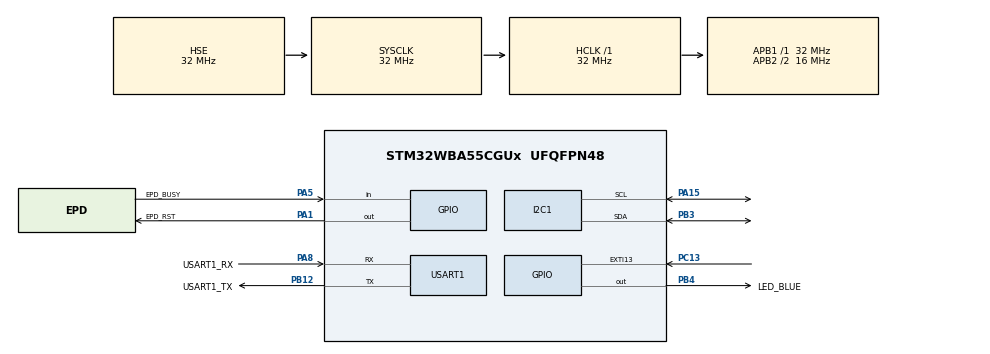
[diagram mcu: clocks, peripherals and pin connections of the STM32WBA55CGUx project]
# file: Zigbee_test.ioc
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CORTEX_M33_NS.userName=CORTEX_M33
I2C1.Timing=0x00303D5B
Mcu.Family=STM32WBA
Mcu.Name=STM32WBA55CGUx
Mcu.Package=UFQFPN48
NVIC.EXTI13_IRQn=true\:0\:0\:false\:false\:true\:true\:true\:true
NVIC.PriorityGroup=NVIC_PRIORITYGROUP_4
NVIC.RADIO_IRQn=true\:0\:0\:false\:false\:true\:false\:false\:true
NVIC.RCC_IRQn=true\:1\:0\:false\:false\:true\:false\:false\:true
NVIC.RTC_IRQn=true\:4\:0\:false\:false\:true\:false\:true\:true
OSC_IN.GPIO_Label=RCC_OSC_IN
OSC_IN.Mode=HSE-External-Oscillator
OSC_IN.Signal=RCC_OSC_IN
OSC_OUT.GPIO_Label=RCC_OSC_OUT
OSC_OUT.Mode=HSE-External-Oscillator
OSC_OUT.Signal=RCC_OSC_OUT
PA1.GPIO_Label=EPD_RST
PA1.Signal=GPIO_Output
PA13\ (JTMS/SWDIO).GPIO_Label=DEBUG_JTMS-SWDIO
PA13\ (JTMS/SWDIO).Signal=DEBUG_JTMS-SWDIO
PA14\ (JTCK/SWCLK).GPIO_Label=DEBUG_JTCK-SWCLK
PA14\ (JTCK/SWCLK).Signal=DEBUG_JTCK-SWCLK
PA15\ (JTDI).GPIO_Pu=GPIO_PULLUP
PA15\ (JTDI).Mode=I2C
PA15\ (JTDI).Signal=I2C1_SCL
PA5.GPIO_Label=EPD_BUSY
PA5.GPIO_PuPd=GPIO_PULLUP
PA5.Signal=GPIO_Input
PA8.GPIO_Label=USART1_RX
PA8.Mode=Asynchronous
PA8.Signal=USART1_RX
PB12.GPIO_Label=USART1_TX
PB12.Mode=Asynchronous
PB12.Signal=USART1_TX
PB3\ (JTDO/TRACESWO).GPIO_Pu=GPIO_PULLUP
PB3\ (JTDO/TRACESWO).Mode=I2C
PB3\ (JTDO/TRACESWO).Signal=I2C1_SDA
PB4\ (NJTRST).GPIO_Label=LED_BLUE
PB4\ (NJTRST).Signal=GPIO_Output
PC13.GPIO_PuPd=GPIO_PULLUP
PC13.Signal=GPXTI13
PC14-OSC32_IN.GPIO_Label=RCC_OSC32_IN
PC14-OSC32_IN.Mode=LSE-External-Oscillator
PC14-OSC32_IN.Signal=RCC_OSC32_IN
PC15-OSC32_OUT.GPIO_Label=RCC_OSC32_OUT
PC15-OSC32_OUT.Mode=LSE-External-Oscillator
PC15-OSC32_OUT.Signal=RCC_OSC32_OUT
ProjectManager.HeapSize=0x200
ProjectManager.StackSize=0x400
ProjectManager.TargetToolchain=STM32CubeIDE
RAMCFG.Instance-RAMCFG1_Activate=RAMCFG_SRAM1
RCC.ADCFreq_Value=32000000
RCC.AHBFreq_Value=32000000
RCC.APB1Freq_Value=32000000
RCC.APB1TimFreq_Value=32000000
RCC.APB2CLKDivider=RCC_HCLK_DIV2
RCC.APB2Freq_Value=16000000
RCC.APB2TimFreq_Value=32000000
RCC.CortexCLockSelectionVirtual=RCC_SYSTICKCLKSOURCE_LSE
RCC.CortexFreq_Value=32768
RCC.HCLKFreq_Value=32000000
RCC.HSE_VALUE=32000000
RCC.HSI_VALUE=16000000
RCC.I2C1CLockSelection=RCC_I2C1CLKSOURCE_HSI
RCC.I2C3CLockSelection=RCC_I2C3CLKSOURCE_HSI
RCC.LPUART1CLockSelectionVirtual=RCC_LPUART1CLKSOURCE_HSI
RCC.LSI1_VALUE=32000
RCC.LSI2_VALUE=32000
RCC.PLLFRACN=4096
RCC.PLLN=12
RCC.PLLSourceVirtual=RCC_PLLSOURCE_HSE
RCC.PWR_Regulator_Voltage_Scale=PWR_REGULATOR_VOLTAGE_SCALE1
RCC.RSTClockSelectionVirtual=RCC_RADIOSTCLKSOURCE_LSE
RCC.RTCClockSelection=RCC_RTCCLKSOURCE_LSE
RCC.SPI1CLockSelection=RCC_SPI1CLKSOURCE_HSI
RCC.SPI3CLockSelection=RCC_SPI3CLKSOURCE_HSI
RCC.SYSCLKFreq_VALUE=32000000
RCC.SYSCLKSourceVirtual=RCC_SYSCLKSOURCE_HSE
RCC.USART1CLockSelectionVirtual=RCC_USART1CLKSOURCE_HSI
RCC.USART2CLockSelectionVirtual=RCC_USART2CLKSOURCE_HSI
RCC.VCOOutputFreq_Value=400000000
RTC.Alarm-Alarm\ A=RTC_ALARM_A
STM32_WPAN.BSP.number=1
STM32_WPAN.CFG_LPM_LEVEL=0
STM32_WPAN.CFG_MM_POOL_SIZE=40000
STM32_WPAN.CFG_MM_TYPE=0
STM32_WPAN.CFG_SCM_SUPPORTED=0
STM32_WPAN.ZCL_IAS_ZONE_ENDPOINT1=CLIENT
STM32_WPAN.ZCL_ONOFF_ENDPOINT1=SERVER
STM32_WPAN.ZCL_TEMPERATURE_MEASUREMENT_ENDPOINT1=CLIENT
STM32_WPAN.ZGB_NB_ENDPOINTS=1
STM32_WPAN0.BSP.STBoard=false
STM32_WPAN0.BSP.api=Unknown
STM32_WPAN0.BSP.condition=S_LOG_TRANSPORT_UART & \!(S_BLE_TM | S_BLE_HOST_SIMPLE)
STM32_WPAN0.BSP.instance=USART1
STM32_WPAN0.BSP.ip=(LPU|US)ART
STM32_WPAN0.BSP.mode=Single Wire \\(Half-Duplex\\)|Asynchronous
STM32_WPAN0.BSP.name=Serial Link for Logs
STM32_WPAN0.BSP.solution=USART1
USART1.VirtualMode-Asynchronous=VM_ASYNC
VP_ADV_TRACE_VS_ADV_TRACE.Mode=ADV_TRACE_Enabled
VP_COMMON_WPAN_VS_Utility_Common_1.0.0_1.0.0.Mode=Utility_Common
VP_CORTEX_M33_NS_VS_Ext.Mode=External_Mode
VP_ICACHE_VS_ICACHE.Mode=DirectMappedCache
VP_MEMORYMAP_VS_MEMORYMAP.Mode=CurAppReg
VP_MISC_VS_MISC.Mode=MISC_Enabled
VP_PWR_VS_SECSignals.Mode=Security/Privilege
VP_RAMCFG_VS_RAMCFG1.Mode=RAMCFG1_Activate
VP_RF_VS_RF.Mode=RF_Activate
VP_RNG_VS_RNG.Mode=RNG_Activate
VP_RTC_VS_RTC_Activate.Mode=RTC_Enabled
VP_RTC_VS_RTC_Alarm_A_Intern.Mode=Alarm A
VP_RTC_VS_RTC_Calendar.Mode=RTC_Calendar
VP_SEQUENCER_VS_SEQUENCER.Mode=SEQUENCER_Enabled
VP_STM32_WPAN_VS_ZIGBEE.Mode=ZIGBEE_ENDPOINT
VP_TIMER_VS_TIMER.Mode=TIMER_Enabled
VP_TINY_LPM_VS_TINY_LPM.Mode=TINY_LPM_Enabled
board=NUCLEO-WBA55CG

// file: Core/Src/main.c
/* USER CODE BEGIN Header */
/**
  ******************************************************************************
  * @file           : main.c
  * @brief          : Main program body
  ******************************************************************************
  * @attention
  *
  * Copyright (c) 2026 STMicroelectronics.
  * All rights reserved.
  *
  * This software is licensed under terms that can be found in the LICENSE file
  * in the root directory of this software component.
  * If no LICENSE file comes with this software, it is provided AS-IS.
  *
  ******************************************************************************
  */
/* USER CODE END Header */
#include "main.h"

/* USER CODE BEGIN Includes */
#include <stdio.h>
#include "EPD_1in9.h"
#include "DEV_Config.h"
#include "epd_custom.h"

/* USER CODE END Includes */

I2C_HandleTypeDef hi2c1;

RAMCFG_HandleTypeDef hramcfg_SRAM1;

RNG_HandleTypeDef hrng;

RTC_HandleTypeDef hrtc;

UART_HandleTypeDef huart1;

/* USER CODE BEGIN PV */
extern volatile int16_t nova_teplota;
extern volatile uint8_t ma_se_prekreslit;
uint32_t timer_teplota = 0;
// Mapy segmentů (vytáhneme si je z tvého souboru s daty)
extern const unsigned char DSPNUM_W0[];
extern const unsigned char DSPNUM_W1[];
extern const unsigned char DSPNUM_W2[];
extern const unsigned char DSPNUM_W3[];
extern const unsigned char DSPNUM_W4[];
extern const unsigned char DSPNUM_W5[];
extern const unsigned char DSPNUM_W6[];
extern const unsigned char DSPNUM_W7[];
extern const unsigned char DSPNUM_W8[];
extern const unsigned char DSPNUM_W9[];
extern const unsigned char DSPNUM_off[];
volatile int16_t nova_teplota = 0;
volatile uint8_t ma_se_prekreslit = 0;
volatile uint8_t stav_dveri = 0;
volatile bool stav_bluetooth = true;
extern uint16_t kolega_adresa;
/* USER CODE END PV */

void SystemClock_Config(void);
void PeriphCommonClock_Config(void);
static void MX_GPIO_Init(void);
static void MX_I2C1_Init(void);

/* USER CODE BEGIN 0 */
int __io_putchar(int ch)
{
  HAL_UART_Transmit(&huart1, (uint8_t *)&ch, 1, 0xFFFF);
  return ch;
}

void Displej_Total_Clear(void) {
    printf("[DISPLEJ] Provadim uplne cisteni (Full Clear)...\r\n");

    EPD_1in9_init();
    EPD_1in9_lut_5S(); // Pouzijeme tuhle pomalou, ale dukladnou tabulku pro smazani

    unsigned char prázdné_pole[15];
    // DSPNUM_off mas definovane ve svem kodu jako samé nuly
    extern const unsigned char DSPNUM_off[];
    for(int i=0; i<15; i++) prázdné_pole[i] = DSPNUM_off[i];

    EPD_1in9_Write_Screen(prázdné_pole);
    EPD_1in9_sleep();

    printf("[DISPLEJ] Smazano.\r\n");
}

/* USER CODE END 0 */

int main(void)
{

  /* MCU Configuration--------------------------------------------------------*/

  /* Reset of all peripherals, Initializes the Flash interface and the Systick. */
  HAL_Init();
  /* Config code for STM32_WPAN (HSE Tuning must be done before system clock configuration) */
  MX_APPE_Config();

  /* Configure the system clock */
  SystemClock_Config();

  /* Configure the peripherals common clocks */
  PeriphCommonClock_Config();

  /* Initialize all configured peripherals */
  MX_GPIO_Init();
  MX_ICACHE_Init();
  MX_RAMCFG_Init();
  MX_RNG_Init();
  MX_RTC_Init();
  MX_I2C1_Init();
  MX_APPE_Init(NULL);
  /* USER CODE BEGIN 2 */
  MX_USART1_UART_Init();
  DEV_Module_Init();

    printf("\r\n[SYSTEM] Startuji displej...\r\n");

    // Tohle je ta tvoje nová init funkce
    EPD_Custom_Show_Boot_Screen();

    printf("[SYSTEM] Boot screen zobrazen (00.0 C + Baterie).\r\n");

  /* USER CODE BEGIN WHILE */
  while (1)
  {

	  if (ma_se_prekreslit)
	      {
	          // 1. BLIKNUTÍ (Smazání na bílo)

	          EPD_Custom_Update();

	          // 2. KONTROLA PŘIPOJENÍ A VYKRESLENÍ
	          if (kolega_adresa == 0xFFFF)
	          {
	              // NIKDO NENÍ PŘIPOJEN: Vypíšeme "00.0"
	              // Posíláme 0 jako teplotu (0/10 = 0.0)
	              EPD_Zobraz_Aplikaci(0, 0, false);
	              printf("[EPD] Zadny kolega, vypisuji nuly.\r\n");
	          }
	          else
	          {
	              // MÁME DATA: Vypíšeme reálnou teplotu a stav dveří
	              // Bluetooth true, ať vidíme, že spojení "žije"
	              EPD_Zobraz_Aplikaci(nova_teplota, stav_dveri, true);
	              printf("[EPD] Data od 0x%04X vykreslena.\r\n", kolega_adresa);
	          }

	          ma_se_prekreslit = 0;
	      }

    /* USER CODE END WHILE */
    MX_APPE_Process();

  }
}

void SystemClock_Config(void)
{
  RCC_OscInitTypeDef RCC_OscInitStruct = {0};
  RCC_ClkInitTypeDef RCC_ClkInitStruct = {0};

  /** Supply configuration update enable
  */
  HAL_PWREx_ConfigSupply(PWR_SMPS_SUPPLY);

  /** Configure the main internal regulator output voltage
  */
  if (HAL_PWREx_ControlVoltageScaling(PWR_REGULATOR_VOLTAGE_SCALE1) != HAL_OK)
  {
    Error_Handler();
  }

  /** Configure LSE Drive Capability
  */
  HAL_PWR_EnableBkUpAccess();
  __HAL_RCC_LSEDRIVE_CONFIG(RCC_LSEDRIVE_MEDIUMLOW);

  /** Initializes the CPU, AHB and APB busses clocks
  */
  RCC_OscInitStruct.OscillatorType = RCC_OSCILLATORTYPE_HSI|RCC_OSCILLATORTYPE_HSE
                              |RCC_OSCILLATORTYPE_LSE;
  RCC_OscInitStruct.HSEState = RCC_HSE_ON;
  RCC_OscInitStruct.HSEDiv = RCC_HSE_DIV1;
  RCC_OscInitStruct.LSEState = RCC_LSE_ON;
  RCC_OscInitStruct.HSIState = RCC_HSI_ON;
  RCC_OscInitStruct.HSICalibrationValue = RCC_HSICALIBRATION_DEFAULT;
  RCC_OscInitStruct.PLL1.PLLState = RCC_PLL_NONE;
  if (HAL_RCC_OscConfig(&RCC_OscInitStruct) != HAL_OK)
  {
    Error_Handler();
  }

  /** Initializes the CPU, AHB and APB busses clocks
  */
  RCC_ClkInitStruct.ClockType = RCC_CLOCKTYPE_HCLK|RCC_CLOCKTYPE_SYSCLK
                              |RCC_CLOCKTYPE_PCLK1|RCC_CLOCKTYPE_PCLK2
                              |RCC_CLOCKTYPE_PCLK7|RCC_CLOCKTYPE_HCLK5;
  RCC_ClkInitStruct.SYSCLKSource = RCC_SYSCLKSOURCE_HSE;
  RCC_ClkInitStruct.AHBCLKDivider = RCC_SYSCLK_DIV1;
  RCC_ClkInitStruct.APB1CLKDivider = RCC_HCLK_DIV1;
  RCC_ClkInitStruct.APB2CLKDivider = RCC_HCLK_DIV2;
  RCC_ClkInitStruct.APB7CLKDivider = RCC_HCLK_DIV1;
  RCC_ClkInitStruct.AHB5_PLL1_CLKDivider = RCC_SYSCLK_PLL1_DIV1;
  RCC_ClkInitStruct.AHB5_HSEHSI_CLKDivider = RCC_SYSCLK_HSEHSI_DIV1;

  if (HAL_RCC_ClockConfig(&RCC_ClkInitStruct, FLASH_LATENCY_0) != HAL_OK)
  {
    Error_Handler();
  }

   /* Select SysTick source clock */
  HAL_SYSTICK_CLKSourceConfig(SYSTICK_CLKSOURCE_LSE);

   /* Re-Initialize Tick with new clock source */
  if (HAL_InitTick(TICK_INT_PRIORITY) != HAL_OK)
  {
    Error_Handler();
  }
}

void PeriphCommonClock_Config(void)
{
  RCC_PeriphCLKInitTypeDef PeriphClkInit = {0};

  /** Initializes the peripherals clock
  */
  PeriphClkInit.PeriphClockSelection = RCC_PERIPHCLK_RADIOST;
  PeriphClkInit.RadioSlpTimClockSelection = RCC_RADIOSTCLKSOURCE_LSE;

  if (HAL_RCCEx_PeriphCLKConfig(&PeriphClkInit) != HAL_OK)
  {
    Error_Handler();
  }
}

static void MX_I2C1_Init(void)
{

  hi2c1.Instance = I2C1;
  hi2c1.Init.Timing = 0x00303D5B;
  hi2c1.Init.OwnAddress1 = 0;
  hi2c1.Init.AddressingMode = I2C_ADDRESSINGMODE_7BIT;
  hi2c1.Init.DualAddressMode = I2C_DUALADDRESS_DISABLE;
  hi2c1.Init.OwnAddress2 = 0;
  hi2c1.Init.OwnAddress2Masks = I2C_OA2_NOMASK;
  hi2c1.Init.GeneralCallMode = I2C_GENERALCALL_DISABLE;
  hi2c1.Init.NoStretchMode = I2C_NOSTRETCH_DISABLE;
  if (HAL_I2C_Init(&hi2c1) != HAL_OK)
  {
    Error_Handler();
  }

  /** Configure Analogue filter
  */
  if (HAL_I2CEx_ConfigAnalogFilter(&hi2c1, I2C_ANALOGFILTER_ENABLE) != HAL_OK)
  {
    Error_Handler();
  }

  /** Configure Digital filter
  */
  if (HAL_I2CEx_ConfigDigitalFilter(&hi2c1, 0) != HAL_OK)
  {
    Error_Handler();
  }

}

void MX_ICACHE_Init(void)
{

  /** Full retention for ICACHE in stop mode
  */
  LL_PWR_SetICacheRAMStopRetention(LL_PWR_ICACHERAM_STOP_FULL_RETENTION);

  /** Enable instruction cache in 1-way (direct mapped cache)
  */
  LL_ICACHE_SetMode(LL_ICACHE_1WAY);
  LL_ICACHE_Enable();

}

void MX_RAMCFG_Init(void)
{

  /** Initialize RAMCFG SRAM1
  */
  hramcfg_SRAM1.Instance = RAMCFG_SRAM1;
  if (HAL_RAMCFG_Init(&hramcfg_SRAM1) != HAL_OK)
  {
    Error_Handler();
  }
  if (HAL_RAMCFG_ConfigWaitState(&hramcfg_SRAM1, RAMCFG_WAITSTATE_0) != HAL_OK)
  {
    Error_Handler();
  }

}

void MX_RNG_Init(void)
{

  hrng.Instance = RNG;
  hrng.Init.ClockErrorDetection = RNG_CED_DISABLE;
  if (HAL_RNG_Init(&hrng) != HAL_OK)
  {
    Error_Handler();
  }

}

void MX_RTC_Init(void)
{

  RTC_PrivilegeStateTypeDef privilegeState = {0};
  RTC_AlarmTypeDef sAlarm = {0};

  /** Initialize RTC Only
  */
  hrtc.Instance = RTC;
  hrtc.Init.AsynchPrediv = 31;
  hrtc.Init.OutPut = RTC_OUTPUT_DISABLE;
  hrtc.Init.OutPutRemap = RTC_OUTPUT_REMAP_NONE;
  hrtc.Init.OutPutPolarity = RTC_OUTPUT_POLARITY_HIGH;
  hrtc.Init.OutPutType = RTC_OUTPUT_TYPE_OPENDRAIN;
  hrtc.Init.OutPutPullUp = RTC_OUTPUT_PULLUP_NONE;
  hrtc.Init.BinMode = RTC_BINARY_ONLY;
  if (HAL_RTC_Init(&hrtc) != HAL_OK)
  {
    Error_Handler();
  }
  privilegeState.rtcPrivilegeFull = RTC_PRIVILEGE_FULL_NO;
  privilegeState.backupRegisterPrivZone = RTC_PRIVILEGE_BKUP_ZONE_NONE;
  privilegeState.backupRegisterStartZone2 = RTC_BKP_DR0;
  privilegeState.backupRegisterStartZone3 = RTC_BKP_DR0;
  if (HAL_RTCEx_PrivilegeModeSet(&hrtc, &privilegeState) != HAL_OK)
  {
    Error_Handler();
  }

  /** Initialize RTC and set the Time and Date
  */
  if (HAL_RTCEx_SetSSRU_IT(&hrtc) != HAL_OK)
  {
    Error_Handler();
  }

  /** Enable the Alarm A
  */
  sAlarm.BinaryAutoClr = RTC_ALARMSUBSECONDBIN_AUTOCLR_NO;
  sAlarm.AlarmTime.SubSeconds = 0x0;
  sAlarm.AlarmMask = RTC_ALARMMASK_NONE;
  sAlarm.AlarmSubSecondMask = RTC_ALARMSUBSECONDBINMASK_NONE;
  sAlarm.Alarm = RTC_ALARM_A;
  if (HAL_RTC_SetAlarm_IT(&hrtc, &sAlarm, RTC_FORMAT_BCD) != HAL_OK)
  {
    Error_Handler();
  }

}

void MX_USART1_UART_Init(void)
{

  huart1.Instance = USART1;
  huart1.Init.BaudRate = 115200;
  huart1.Init.WordLength = UART_WORDLENGTH_8B;
  huart1.Init.StopBits = UART_STOPBITS_1;
  huart1.Init.Parity = UART_PARITY_NONE;
  huart1.Init.Mode = UART_MODE_TX_RX;
  huart1.Init.HwFlowCtl = UART_HWCONTROL_NONE;
  huart1.Init.OverSampling = UART_OVERSAMPLING_16;
  huart1.Init.OneBitSampling = UART_ONE_BIT_SAMPLE_DISABLE;
  huart1.Init.ClockPrescaler = UART_PRESCALER_DIV1;
  huart1.AdvancedInit.AdvFeatureInit = UART_ADVFEATURE_NO_INIT;
  if (HAL_UART_Init(&huart1) != HAL_OK)
  {
    Error_Handler();
  }
  if (HAL_UARTEx_SetTxFifoThreshold(&huart1, UART_TXFIFO_THRESHOLD_1_8) != HAL_OK)
  {
    Error_Handler();
  }
  if (HAL_UARTEx_SetRxFifoThreshold(&huart1, UART_RXFIFO_THRESHOLD_1_8) != HAL_OK)
  {
    Error_Handler();
  }
  if (HAL_UARTEx_DisableFifoMode(&huart1) != HAL_OK)
  {
    Error_Handler();
  }

}

static void MX_GPIO_Init(void)
{
  GPIO_InitTypeDef GPIO_InitStruct = {0};

  /* GPIO Ports Clock Enable */
  __HAL_RCC_GPIOB_CLK_ENABLE();
  __HAL_RCC_GPIOA_CLK_ENABLE();
  __HAL_RCC_GPIOC_CLK_ENABLE();

  /*Configure GPIO pin Output Level */
  HAL_GPIO_WritePin(EPD_RST_GPIO_Port, EPD_RST_Pin, GPIO_PIN_RESET);

  /*Configure GPIO pin Output Level */
  HAL_GPIO_WritePin(LED_BLUE_GPIO_Port, LED_BLUE_Pin, GPIO_PIN_RESET);

  /*Configure GPIO pin : EPD_BUSY_Pin */
  GPIO_InitStruct.Pin = EPD_BUSY_Pin;
  GPIO_InitStruct.Mode = GPIO_MODE_INPUT;
  GPIO_InitStruct.Pull = GPIO_PULLUP;
  HAL_GPIO_Init(EPD_BUSY_GPIO_Port, &GPIO_InitStruct);

  /*Configure GPIO pin : EPD_RST_Pin */
  GPIO_InitStruct.Pin = EPD_RST_Pin;
  GPIO_InitStruct.Mode = GPIO_MODE_OUTPUT_PP;
  GPIO_InitStruct.Pull = GPIO_NOPULL;
  GPIO_InitStruct.Speed = GPIO_SPEED_FREQ_LOW;
  HAL_GPIO_Init(EPD_RST_GPIO_Port, &GPIO_InitStruct);

  /*Configure GPIO pin : PC13 */
  GPIO_InitStruct.Pin = GPIO_PIN_13;
  GPIO_InitStruct.Mode = GPIO_MODE_IT_RISING;
  GPIO_InitStruct.Pull = GPIO_PULLUP;
  HAL_GPIO_Init(GPIOC, &GPIO_InitStruct);

  /*Configure GPIO pin : LED_BLUE_Pin */
  GPIO_InitStruct.Pin = LED_BLUE_Pin;
  GPIO_InitStruct.Mode = GPIO_MODE_OUTPUT_PP;
  GPIO_InitStruct.Pull = GPIO_NOPULL;
  GPIO_InitStruct.Speed = GPIO_SPEED_FREQ_LOW;
  HAL_GPIO_Init(LED_BLUE_GPIO_Port, &GPIO_InitStruct);

  /* EXTI interrupt init*/
  HAL_NVIC_SetPriority(EXTI13_IRQn, 0, 0);
  HAL_NVIC_EnableIRQ(EXTI13_IRQn);

}

/* USER CODE BEGIN 4 */
void HAL_GPIO_EXTI_Rising_Callback(uint16_t GPIO_Pin)
{
  // Kontrola, že přerušení přišlo z pinu 13 (tlačítko B1 na tvé desce)
  if (GPIO_Pin == GPIO_PIN_13)
  {
	  printf("Permit join 60s jede\r\n");
    // Toto je funkce ze souboru app_zigbee.c
    APP_ZIGBEE_PermitJoin(60);

  }
}

/* USER CODE END 4 */

void Error_Handler(void)
{
  __disable_irq();
  while (1)
  {
  }
}
